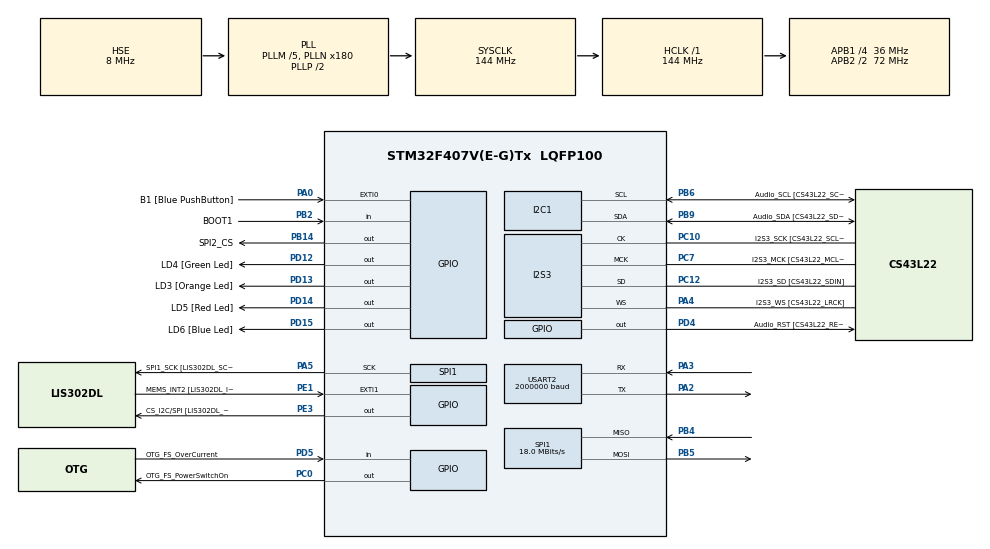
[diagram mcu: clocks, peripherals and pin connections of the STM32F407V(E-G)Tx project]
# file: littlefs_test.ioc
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Dma.Request0=SPI3_TX
Dma.SPI3_TX.0.Direction=DMA_MEMORY_TO_PERIPH
Dma.SPI3_TX.0.FIFOMode=DMA_FIFOMODE_DISABLE
Dma.SPI3_TX.0.Instance=DMA1_Stream5
Dma.SPI3_TX.0.MemDataAlignment=DMA_MDATAALIGN_HALFWORD
Dma.SPI3_TX.0.MemInc=DMA_MINC_ENABLE
Dma.SPI3_TX.0.Mode=DMA_CIRCULAR
Dma.SPI3_TX.0.PeriphDataAlignment=DMA_PDATAALIGN_HALFWORD
Dma.SPI3_TX.0.PeriphInc=DMA_PINC_DISABLE
Dma.SPI3_TX.0.Priority=DMA_PRIORITY_LOW
I2S3.AudioFreq=I2S_AUDIOFREQ_44K
I2S3.ErrorAudioFreq=0.24 %
I2S3.FullDuplexMode=I2S_FULLDUPLEXMODE_DISABLE
I2S3.Instance=SPI$Index
I2S3.RealAudioFreq=44.107 KHz
I2S3.VirtualMode=I2S_MODE_MASTER
Mcu.Family=STM32F4
Mcu.Name=STM32F407V(E-G)Tx
Mcu.Package=LQFP100
NVIC.DMA1_Stream5_IRQn=true\:0\:0\:false\:false\:true\:false\:true\:true
NVIC.PriorityGroup=NVIC_PRIORITYGROUP_0
PA0-WKUP.GPIO_Label=B1 [Blue PushButton]
PA0-WKUP.Signal=GPXTI0
PA10.GPIO_Label=OTG_FS_ID
PA10.GPIO_Mode=GPIO_MODE_AF_PP
PA10.GPIO_PuPd=GPIO_NOPULL
PA10.GPIO_Speed=GPIO_SPEED_FREQ_LOW
PA10.Signal=USB_OTG_FS_ID
PA11.GPIO_Label=OTG_FS_DM
PA11.GPIO_Mode=GPIO_MODE_AF_PP
PA11.GPIO_PuPd=GPIO_NOPULL
PA11.GPIO_Speed=GPIO_SPEED_FREQ_LOW
PA11.Signal=USB_OTG_FS_DM
PA12.GPIO_Label=OTG_FS_DP
PA12.GPIO_Mode=GPIO_MODE_AF_PP
PA12.GPIO_PuPd=GPIO_NOPULL
PA12.GPIO_Speed=GPIO_SPEED_FREQ_LOW
PA12.Signal=USB_OTG_FS_DP
PA13.GPIO_Label=SWDIO
PA13.Signal=SYS_JTMS-SWDIO
PA14.GPIO_Label=SWCLK
PA14.Signal=SYS_JTCK-SWCLK
PA2.Mode=Asynchronous
PA2.Signal=USART2_TX
PA3.Mode=Asynchronous
PA3.Signal=USART2_RX
PA4.GPIO_Label=I2S3_WS [CS43L22_LRCK]
PA4.GPIO_Mode=GPIO_MODE_AF_PP
PA4.GPIO_PuPd=GPIO_NOPULL
PA4.GPIO_Speed=GPIO_SPEED_FREQ_LOW
PA4.Mode=Half_Duplex_Master
PA4.Signal=I2S3_WS
PA5.GPIO_Label=SPI1_SCK [LIS302DL_SCL/SPC]
PA5.GPIO_Mode=GPIO_MODE_AF_PP
PA5.GPIO_PuPd=GPIO_NOPULL
PA5.GPIO_Speed=GPIO_SPEED_FREQ_LOW
PA5.Mode=Full_Duplex_Master
PA5.Signal=SPI1_SCK
PA9.GPIO_Label=VBUS_FS
PA9.GPIO_Mode=GPIO_MODE_INPUT
PA9.GPIO_PuPd=GPIO_NOPULL
PA9.Signal=USB_OTG_FS_VBUS
PB10.GPIO_Label=CLK_IN [MP45DT02_CLK]
PB10.GPIO_Mode=GPIO_MODE_AF_PP
PB10.GPIO_PuPd=GPIO_NOPULL
PB10.GPIO_Speed=GPIO_SPEED_FREQ_LOW
PB10.Signal=I2S2_CK
PB14.GPIO_Label=SPI2_CS
PB14.GPIO_Speed=GPIO_SPEED_FREQ_VERY_HIGH
PB14.PinState=GPIO_PIN_SET
PB14.Signal=GPIO_Output
PB2.GPIO_Label=BOOT1
PB2.GPIO_Mode=GPIO_MODE_INPUT
PB2.GPIO_PuPd=GPIO_NOPULL
PB2.Signal=GPIO_Input
PB3.GPIO_Label=SWO
PB3.Signal=SYS_JTDO-SWO
PB4.Mode=Full_Duplex_Master
PB4.Signal=SPI1_MISO
PB5.Mode=Full_Duplex_Master
PB5.Signal=SPI1_MOSI
PB6.GPIO_Label=Audio_SCL [CS43L22_SCL]
PB6.GPIO_Mode=GPIO_MODE_AF_OD
PB6.GPIO_PuPd=GPIO_NOPULL
PB6.GPIO_Speed=GPIO_SPEED_FREQ_LOW
PB6.Mode=I2C
PB6.Signal=I2C1_SCL
PB9.GPIO_Label=Audio_SDA [CS43L22_SDA]
PB9.GPIO_Mode=GPIO_MODE_AF_OD
PB9.GPIO_PuPd=GPIO_NOPULL
PB9.GPIO_Speed=GPIO_SPEED_FREQ_LOW
PB9.Mode=I2C
PB9.Signal=I2C1_SDA
PC0.GPIO_Label=OTG_FS_PowerSwitchOn
PC0.GPIO_PuPd=GPIO_NOPULL
PC0.GPIO_Speed=GPIO_SPEED_FREQ_LOW
PC0.PinState=GPIO_PIN_SET
PC0.Signal=GPIO_Output
PC10.GPIO_Label=I2S3_SCK [CS43L22_SCLK]
PC10.GPIO_Mode=GPIO_MODE_AF_PP
PC10.GPIO_PuPd=GPIO_NOPULL
PC10.GPIO_Speed=GPIO_SPEED_FREQ_LOW
PC10.Mode=Half_Duplex_Master
PC10.Signal=I2S3_CK
PC12.GPIO_Label=I2S3_SD [CS43L22_SDIN]
PC12.GPIO_Mode=GPIO_MODE_AF_PP
PC12.GPIO_PuPd=GPIO_NOPULL
PC12.GPIO_Speed=GPIO_SPEED_FREQ_LOW
PC12.Mode=Half_Duplex_Master
PC12.Signal=I2S3_SD
PC14-OSC32_IN.GPIO_Label=PC14-OSC32_IN
PC14-OSC32_IN.Signal=RCC_OSC32_IN
PC15-OSC32_OUT.GPIO_Label=PC15-OSC32_OUT
PC15-OSC32_OUT.Signal=RCC_OSC32_OUT
PC3.GPIO_Label=PDM_OUT [MP45DT02_DOUT]
PC3.GPIO_Mode=GPIO_MODE_AF_PP
PC3.GPIO_PuPd=GPIO_NOPULL
PC3.GPIO_Speed=GPIO_SPEED_FREQ_LOW
PC3.Signal=I2S2_SD
PC7.GPIO_Label=I2S3_MCK [CS43L22_MCLK]
PC7.GPIO_Mode=GPIO_MODE_AF_PP
PC7.GPIO_PuPd=GPIO_NOPULL
PC7.GPIO_Speed=GPIO_SPEED_FREQ_LOW
PC7.Mode=Master_Clock_Activated
PC7.Signal=I2S3_MCK
PD12.GPIO_Label=LD4 [Green Led]
PD12.GPIO_PuPd=GPIO_NOPULL
PD12.GPIO_Speed=GPIO_SPEED_FREQ_LOW
PD12.Signal=GPIO_Output
PD13.GPIO_Label=LD3 [Orange Led]
PD13.GPIO_PuPd=GPIO_NOPULL
PD13.GPIO_Speed=GPIO_SPEED_FREQ_LOW
PD13.Signal=GPIO_Output
PD14.GPIO_Label=LD5 [Red Led]
PD14.GPIO_PuPd=GPIO_NOPULL
PD14.GPIO_Speed=GPIO_SPEED_FREQ_LOW
PD14.Signal=GPIO_Output
PD15.GPIO_Label=LD6 [Blue Led]
PD15.GPIO_PuPd=GPIO_NOPULL
PD15.GPIO_Speed=GPIO_SPEED_FREQ_LOW
PD15.Signal=GPIO_Output
PD4.GPIO_Label=Audio_RST [CS43L22_RESET]
PD4.GPIO_PuPd=GPIO_NOPULL
PD4.GPIO_Speed=GPIO_SPEED_FREQ_LOW
PD4.Signal=GPIO_Output
PD5.GPIO_Label=OTG_FS_OverCurrent
PD5.GPIO_Mode=GPIO_MODE_INPUT
PD5.GPIO_PuPd=GPIO_NOPULL
PD5.Signal=GPIO_Input
PE1.GPIO_Label=MEMS_INT2 [LIS302DL_INT2]
PE1.GPIO_ModeDefaultEXTI=GPIO_MODE_EVT_RISING
PE1.GPIO_PuPd=GPIO_NOPULL
PE1.Signal=GPXTI1
PE3.GPIO_Label=CS_I2C/SPI [LIS302DL_CS_I2C/SPI]
PE3.GPIO_PuPd=GPIO_NOPULL
PE3.GPIO_Speed=GPIO_SPEED_FREQ_LOW
PE3.Signal=GPIO_Output
PH0-OSC_IN.GPIO_Label=PH0-OSC_IN
PH0-OSC_IN.Mode=HSE-External-Oscillator
PH0-OSC_IN.Signal=RCC_OSC_IN
PH1-OSC_OUT.GPIO_Label=PH1-OSC_OUT
PH1-OSC_OUT.Mode=HSE-External-Oscillator
PH1-OSC_OUT.Signal=RCC_OSC_OUT
ProjectManager.HeapSize=0x8000
ProjectManager.StackSize=0x4000
ProjectManager.TargetToolchain=STM32CubeIDE
RCC.48MHZClocksFreq_Value=41142857.14285714
RCC.AHBFreq_Value=144000000
RCC.APB1CLKDivider=RCC_HCLK_DIV4
RCC.APB1Freq_Value=36000000
RCC.APB1TimFreq_Value=72000000
RCC.APB2CLKDivider=RCC_HCLK_DIV2
RCC.APB2Freq_Value=72000000
RCC.APB2TimFreq_Value=144000000
RCC.CortexFreq_Value=144000000
RCC.HCLKFreq_Value=144000000
RCC.HSE_VALUE=8000000
RCC.HSI_VALUE=16000000
RCC.LSE_VALUE=32768
RCC.PLLI2SN=247
RCC.PLLI2SR=5
RCC.PLLM=5
RCC.PLLN=180
RCC.PLLQ=7
RCC.PLLSourceVirtual=RCC_PLLSOURCE_HSE
RCC.SYSCLKFreq_VALUE=144000000
RCC.SYSCLKSource=RCC_SYSCLKSOURCE_PLLCLK
RCC.VCOOutputFreq_Value=288000000
SPI1.BaudRatePrescaler=SPI_BAUDRATEPRESCALER_4
SPI1.CalculateBaudRate=18.0 MBits/s
SPI1.Direction=SPI_DIRECTION_2LINES
SPI1.Mode=SPI_MODE_MASTER
SPI1.VirtualType=VM_MASTER
TIM6.Prescaler=54-1
USART2.BaudRate=2000000
USART2.VirtualMode=VM_ASYNC
VP_TIM6_VS_ClockSourceINT.Mode=Enable_Timer
board=STM32F407G-DISC1

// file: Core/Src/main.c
/* USER CODE BEGIN Header */
/**
  ******************************************************************************
  * @file           : main.c
  * @brief          : Main program body
  ******************************************************************************
  * @attention
  *
  * Copyright (c) 2024 STMicroelectronics.
  * All rights reserved.
  *
  * This software is licensed under terms that can be found in the LICENSE file
  * in the root directory of this software component.
  * If no LICENSE file comes with this software, it is provided AS-IS.
  *
  ******************************************************************************
  */
/* USER CODE END Header */
#include "main.h"

/* USER CODE BEGIN Includes */
#include "W25Q256.h"
#include <stdio.h>
#include <string.h>
#include "lfs.h"
#include "player.h"
#include "xmodem_server.h"
#include "CS43L22.h"
/* USER CODE END Includes */

I2C_HandleTypeDef hi2c1;

I2S_HandleTypeDef hi2s3;
DMA_HandleTypeDef hdma_spi3_tx;

SPI_HandleTypeDef hspi1;

TIM_HandleTypeDef htim6;

UART_HandleTypeDef huart2;

void SystemClock_Config(void);
static void MX_GPIO_Init(void);
static void MX_DMA_Init(void);
static void MX_USART2_UART_Init(void);
static void MX_I2C1_Init(void);
static void MX_I2S3_Init(void);
static void MX_TIM6_Init(void);
static void MX_SPI1_Init(void);

/* USER CODE BEGIN 0 */
int __io_putchar(int ch)
{
	uint8_t data = ch;
	HAL_UART_Transmit(&huart2, &data, sizeof(data), HAL_MAX_DELAY);
	return ch;
}

static void __attribute__((noreturn)) halt(void)
{
	printf("Execution halted\n");
	while (1);
}

static int flash_read(const struct lfs_config *c, lfs_block_t block, lfs_off_t off, void *buffer, lfs_size_t size)
{
	const uint32_t lba = block * W25Q256_SECTOR_SIZE + off;
	return W25Q256_read(lba, buffer, size);
}

static int flash_prog(const struct lfs_config *c, lfs_block_t block, lfs_off_t off, const void *buffer, lfs_size_t size)
{
	const uint32_t lba = block * W25Q256_SECTOR_SIZE + off;
	return W25Q256_write(lba, buffer, size);
}

static int flash_erase(const struct lfs_config *c, lfs_block_t block)
{
	return W25Q256_erase_sector(block);
}

static int flash_sync(const struct lfs_config *c)
{
	return 0;
}

static lfs_t lfs;
static lfs_file_t file;

static const struct lfs_config cfg = {
		.read = flash_read,
		.prog = flash_prog,
		.erase = flash_erase,
		.sync = flash_sync,

		.read_size = 16,
		.prog_size = 16,
		.block_size = W25Q256_SECTOR_SIZE,
		.block_count = W25Q256_SECTORS_COUNT,
		.cache_size = 512,
		.lookahead_size = 512,
		.block_cycles = 512
};

static void uart_write_byte(struct xmodem_server *xdm, uint8_t byte, void *cb_data)
{
	HAL_UART_Transmit(&huart2, &byte, sizeof(byte), HAL_MAX_DELAY);
}

static bool uart_read_byte(uint8_t *byte)
{
	return (HAL_UART_Receive(&huart2, byte, sizeof(*byte), 0) == HAL_OK);
}

static void delete_file(void)
{
	lfs_remove(&lfs, "test.mp3");
}

static void open_file(void)
{
	const int err = lfs_file_open(&lfs, &file, "test.mp3", LFS_O_RDWR | LFS_O_TRUNC | LFS_O_CREAT);
	if (err) {
		printf("Failed to open file!\n");
		halt();
	}
}

static void write_file(const uint8_t *data, size_t size)
{
	const size_t bytes_written = lfs_file_write(&lfs, &file, data, size);
	if (bytes_written != size) {
		printf("Failed to write to file! Expected %uB, written %uB\n", size, bytes_written);
		halt();
	}
}

static void close_file(void)
{
	const int err = lfs_file_close(&lfs, &file);
	if (err) {
		printf("Failed to close file!\n");
		halt();
	}
}

static int8_t volume = -32 * CS43L22_VOLUME_STEPS_PER_DB;

static void update_volume(void)
{
	uint8_t payload[3];
	/* Limit max volume to -15dB so that some accidental frame matching
	 * the pattern check below will not deafen anyone... */
	const int8_t limit = CS43L22_VOLUME_STEPS_PER_DB * 15;
	if (HAL_UART_Receive(&huart2, payload, sizeof(payload), 4) == HAL_OK) {
		if ((payload[0] == 0xCA) && (payload[1] <= (INT8_MAX - limit)) && (payload[2] == 0xFE)) {
			volume = payload[1] - INT8_MAX;
			player_set_volume(volume);
		}
	}
}

/* USER CODE END 0 */

int main(void)
{

  /* MCU Configuration--------------------------------------------------------*/

  /* Reset of all peripherals, Initializes the Flash interface and the Systick. */
  HAL_Init();

  /* Configure the system clock */
  SystemClock_Config();

  /* Initialize all configured peripherals */
  MX_GPIO_Init();
  MX_DMA_Init();
  MX_USART2_UART_Init();
  MX_I2C1_Init();
  MX_I2S3_Init();
  MX_TIM6_Init();
  MX_SPI1_Init();
  /* USER CODE BEGIN 2 */

  printf("Mounting LFS...\n");
  int err = lfs_mount(&lfs, &cfg);
  if (err) {
	  printf("Failed to mount LFS! Error: %d\n", err);
	  halt();
  }

  struct xmodem_server xmodem;

  player_init(&hi2s3, &hi2c1, &lfs);
  /* USER CODE END 2 */

  /* Infinite loop */
  /* USER CODE BEGIN WHILE */
  while (1)
  {
	/* Initialize XMODEM server and wait for connection */
//	printf("Awaiting XMODEM connection...\n");
	xmodem_server_init(&xmodem, uart_write_byte, NULL);
	while (!xmodem_server_is_done(&xmodem)) {
		uint8_t byte;
		if (uart_read_byte(&byte)) {
		  xmodem_server_rx_byte(&xmodem, byte);
		}

		uint8_t payload[XMODEM_MAX_PACKET_SIZE];
		uint32_t block_nr;
		const int rx_data_len = xmodem_server_process(&xmodem, payload, &block_nr, HAL_GetTick());
		if (rx_data_len > 0) {
		  if (block_nr == 0) {
			  delete_file();
			  open_file();
		  }
		  write_file(payload, rx_data_len);
		  xmodem_server_acknowledge(&xmodem);
		}
	}
	if (xmodem_server_is_done(&xmodem)) {
		close_file();
	}
	if (xmodem_server_get_state(&xmodem) == XMODEM_STATE_FAILURE) {
		printf("Failed to receive data!\n");
		halt();
	}

//	const size_t blocks_used = lfs_fs_size(&lfs);
//	const size_t blocks_free = W25Q256_SECTORS_COUNT - blocks_used;

//	printf("\nFilesystem info:\n");
//	printf("\tfree space: %lu\n", blocks_free * W25Q256_SECTOR_SIZE);
//	printf("\tused space: %lu\n", blocks_used * W25Q256_SECTOR_SIZE);
//	printf("\ttotal space: %lu\n", W25Q256_SECTORS_COUNT * W25Q256_SECTOR_SIZE);
//	printf("\tpercent of usage: %u%%\n\n", (100 * blocks_used) / (blocks_free + blocks_used));

	/* Play newly received file */
//	printf("Starting playback...\n");
	player_start("test.mp3");
	player_set_volume(volume);
	while (player_get_state() == PLAYER_PLAYING) {
		update_volume();
		player_task();
	}
    /* USER CODE END WHILE */

  }
}

void SystemClock_Config(void)
{
  RCC_OscInitTypeDef RCC_OscInitStruct = {0};
  RCC_ClkInitTypeDef RCC_ClkInitStruct = {0};

  /** Configure the main internal regulator output voltage
  */
  __HAL_RCC_PWR_CLK_ENABLE();
  __HAL_PWR_VOLTAGESCALING_CONFIG(PWR_REGULATOR_VOLTAGE_SCALE1);

  /** Initializes the RCC Oscillators according to the specified parameters
  * in the RCC_OscInitTypeDef structure.
  */
  RCC_OscInitStruct.OscillatorType = RCC_OSCILLATORTYPE_HSE;
  RCC_OscInitStruct.HSEState = RCC_HSE_ON;
  RCC_OscInitStruct.PLL.PLLState = RCC_PLL_ON;
  RCC_OscInitStruct.PLL.PLLSource = RCC_PLLSOURCE_HSE;
  RCC_OscInitStruct.PLL.PLLM = 5;
  RCC_OscInitStruct.PLL.PLLN = 180;
  RCC_OscInitStruct.PLL.PLLP = RCC_PLLP_DIV2;
  RCC_OscInitStruct.PLL.PLLQ = 7;
  if (HAL_RCC_OscConfig(&RCC_OscInitStruct) != HAL_OK)
  {
    Error_Handler();
  }

  /** Initializes the CPU, AHB and APB buses clocks
  */
  RCC_ClkInitStruct.ClockType = RCC_CLOCKTYPE_HCLK|RCC_CLOCKTYPE_SYSCLK
                              |RCC_CLOCKTYPE_PCLK1|RCC_CLOCKTYPE_PCLK2;
  RCC_ClkInitStruct.SYSCLKSource = RCC_SYSCLKSOURCE_PLLCLK;
  RCC_ClkInitStruct.AHBCLKDivider = RCC_SYSCLK_DIV1;
  RCC_ClkInitStruct.APB1CLKDivider = RCC_HCLK_DIV4;
  RCC_ClkInitStruct.APB2CLKDivider = RCC_HCLK_DIV2;

  if (HAL_RCC_ClockConfig(&RCC_ClkInitStruct, FLASH_LATENCY_4) != HAL_OK)
  {
    Error_Handler();
  }
}

static void MX_I2C1_Init(void)
{

  hi2c1.Instance = I2C1;
  hi2c1.Init.ClockSpeed = 100000;
  hi2c1.Init.DutyCycle = I2C_DUTYCYCLE_2;
  hi2c1.Init.OwnAddress1 = 0;
  hi2c1.Init.AddressingMode = I2C_ADDRESSINGMODE_7BIT;
  hi2c1.Init.DualAddressMode = I2C_DUALADDRESS_DISABLE;
  hi2c1.Init.OwnAddress2 = 0;
  hi2c1.Init.GeneralCallMode = I2C_GENERALCALL_DISABLE;
  hi2c1.Init.NoStretchMode = I2C_NOSTRETCH_DISABLE;
  if (HAL_I2C_Init(&hi2c1) != HAL_OK)
  {
    Error_Handler();
  }

}

static void MX_I2S3_Init(void)
{

  hi2s3.Instance = SPI3;
  hi2s3.Init.Mode = I2S_MODE_MASTER_TX;
  hi2s3.Init.Standard = I2S_STANDARD_PHILIPS;
  hi2s3.Init.DataFormat = I2S_DATAFORMAT_16B;
  hi2s3.Init.MCLKOutput = I2S_MCLKOUTPUT_ENABLE;
  hi2s3.Init.AudioFreq = I2S_AUDIOFREQ_44K;
  hi2s3.Init.CPOL = I2S_CPOL_LOW;
  hi2s3.Init.ClockSource = I2S_CLOCK_PLL;
  hi2s3.Init.FullDuplexMode = I2S_FULLDUPLEXMODE_DISABLE;
  if (HAL_I2S_Init(&hi2s3) != HAL_OK)
  {
    Error_Handler();
  }

}

static void MX_SPI1_Init(void)
{

  /* SPI1 parameter configuration*/
  hspi1.Instance = SPI1;
  hspi1.Init.Mode = SPI_MODE_MASTER;
  hspi1.Init.Direction = SPI_DIRECTION_2LINES;
  hspi1.Init.DataSize = SPI_DATASIZE_8BIT;
  hspi1.Init.CLKPolarity = SPI_POLARITY_LOW;
  hspi1.Init.CLKPhase = SPI_PHASE_1EDGE;
  hspi1.Init.NSS = SPI_NSS_SOFT;
  hspi1.Init.BaudRatePrescaler = SPI_BAUDRATEPRESCALER_4;
  hspi1.Init.FirstBit = SPI_FIRSTBIT_MSB;
  hspi1.Init.TIMode = SPI_TIMODE_DISABLE;
  hspi1.Init.CRCCalculation = SPI_CRCCALCULATION_DISABLE;
  hspi1.Init.CRCPolynomial = 10;
  if (HAL_SPI_Init(&hspi1) != HAL_OK)
  {
    Error_Handler();
  }

}

static void MX_TIM6_Init(void)
{

  TIM_MasterConfigTypeDef sMasterConfig = {0};

  htim6.Instance = TIM6;
  htim6.Init.Prescaler = 54-1;
  htim6.Init.CounterMode = TIM_COUNTERMODE_UP;
  htim6.Init.Period = 65535;
  htim6.Init.AutoReloadPreload = TIM_AUTORELOAD_PRELOAD_DISABLE;
  if (HAL_TIM_Base_Init(&htim6) != HAL_OK)
  {
    Error_Handler();
  }
  sMasterConfig.MasterOutputTrigger = TIM_TRGO_RESET;
  sMasterConfig.MasterSlaveMode = TIM_MASTERSLAVEMODE_DISABLE;
  if (HAL_TIMEx_MasterConfigSynchronization(&htim6, &sMasterConfig) != HAL_OK)
  {
    Error_Handler();
  }

}

static void MX_USART2_UART_Init(void)
{

  huart2.Instance = USART2;
  huart2.Init.BaudRate = 2000000;
  huart2.Init.WordLength = UART_WORDLENGTH_8B;
  huart2.Init.StopBits = UART_STOPBITS_1;
  huart2.Init.Parity = UART_PARITY_NONE;
  huart2.Init.Mode = UART_MODE_TX_RX;
  huart2.Init.HwFlowCtl = UART_HWCONTROL_NONE;
  huart2.Init.OverSampling = UART_OVERSAMPLING_16;
  if (HAL_UART_Init(&huart2) != HAL_OK)
  {
    Error_Handler();
  }

}

static void MX_DMA_Init(void)
{

  /* DMA controller clock enable */
  __HAL_RCC_DMA1_CLK_ENABLE();

  /* DMA interrupt init */
  /* DMA1_Stream5_IRQn interrupt configuration */
  HAL_NVIC_SetPriority(DMA1_Stream5_IRQn, 0, 0);
  HAL_NVIC_EnableIRQ(DMA1_Stream5_IRQn);

}

static void MX_GPIO_Init(void)
{
  GPIO_InitTypeDef GPIO_InitStruct = {0};

  /* GPIO Ports Clock Enable */
  __HAL_RCC_GPIOE_CLK_ENABLE();
  __HAL_RCC_GPIOC_CLK_ENABLE();
  __HAL_RCC_GPIOH_CLK_ENABLE();
  __HAL_RCC_GPIOA_CLK_ENABLE();
  __HAL_RCC_GPIOB_CLK_ENABLE();
  __HAL_RCC_GPIOD_CLK_ENABLE();

  /*Configure GPIO pin Output Level */
  HAL_GPIO_WritePin(CS_I2C_SPI_GPIO_Port, CS_I2C_SPI_Pin, GPIO_PIN_RESET);

  /*Configure GPIO pin Output Level */
  HAL_GPIO_WritePin(OTG_FS_PowerSwitchOn_GPIO_Port, OTG_FS_PowerSwitchOn_Pin, GPIO_PIN_SET);

  /*Configure GPIO pin Output Level */
  HAL_GPIO_WritePin(SPI2_CS_GPIO_Port, SPI2_CS_Pin, GPIO_PIN_SET);

  /*Configure GPIO pin Output Level */
  HAL_GPIO_WritePin(GPIOD, LD4_Pin|LD3_Pin|LD5_Pin|LD6_Pin
                          |Audio_RST_Pin, GPIO_PIN_RESET);

  /*Configure GPIO pin : CS_I2C_SPI_Pin */
  GPIO_InitStruct.Pin = CS_I2C_SPI_Pin;
  GPIO_InitStruct.Mode = GPIO_MODE_OUTPUT_PP;
  GPIO_InitStruct.Pull = GPIO_NOPULL;
  GPIO_InitStruct.Speed = GPIO_SPEED_FREQ_LOW;
  HAL_GPIO_Init(CS_I2C_SPI_GPIO_Port, &GPIO_InitStruct);

  /*Configure GPIO pin : OTG_FS_PowerSwitchOn_Pin */
  GPIO_InitStruct.Pin = OTG_FS_PowerSwitchOn_Pin;
  GPIO_InitStruct.Mode = GPIO_MODE_OUTPUT_PP;
  GPIO_InitStruct.Pull = GPIO_NOPULL;
  GPIO_InitStruct.Speed = GPIO_SPEED_FREQ_LOW;
  HAL_GPIO_Init(OTG_FS_PowerSwitchOn_GPIO_Port, &GPIO_InitStruct);

  /*Configure GPIO pin : PDM_OUT_Pin */
  GPIO_InitStruct.Pin = PDM_OUT_Pin;
  GPIO_InitStruct.Mode = GPIO_MODE_AF_PP;
  GPIO_InitStruct.Pull = GPIO_NOPULL;
  GPIO_InitStruct.Speed = GPIO_SPEED_FREQ_LOW;
  GPIO_InitStruct.Alternate = GPIO_AF5_SPI2;
  HAL_GPIO_Init(PDM_OUT_GPIO_Port, &GPIO_InitStruct);

  /*Configure GPIO pin : B1_Pin */
  GPIO_InitStruct.Pin = B1_Pin;
  GPIO_InitStruct.Mode = GPIO_MODE_IT_RISING;
  GPIO_InitStruct.Pull = GPIO_NOPULL;
  HAL_GPIO_Init(B1_GPIO_Port, &GPIO_InitStruct);

  /*Configure GPIO pin : BOOT1_Pin */
  GPIO_InitStruct.Pin = BOOT1_Pin;
  GPIO_InitStruct.Mode = GPIO_MODE_INPUT;
  GPIO_InitStruct.Pull = GPIO_NOPULL;
  HAL_GPIO_Init(BOOT1_GPIO_Port, &GPIO_InitStruct);

  /*Configure GPIO pin : CLK_IN_Pin */
  GPIO_InitStruct.Pin = CLK_IN_Pin;
  GPIO_InitStruct.Mode = GPIO_MODE_AF_PP;
  GPIO_InitStruct.Pull = GPIO_NOPULL;
  GPIO_InitStruct.Speed = GPIO_SPEED_FREQ_LOW;
  GPIO_InitStruct.Alternate = GPIO_AF5_SPI2;
  HAL_GPIO_Init(CLK_IN_GPIO_Port, &GPIO_InitStruct);

  /*Configure GPIO pin : SPI2_CS_Pin */
  GPIO_InitStruct.Pin = SPI2_CS_Pin;
  GPIO_InitStruct.Mode = GPIO_MODE_OUTPUT_PP;
  GPIO_InitStruct.Pull = GPIO_NOPULL;
  GPIO_InitStruct.Speed = GPIO_SPEED_FREQ_VERY_HIGH;
  HAL_GPIO_Init(SPI2_CS_GPIO_Port, &GPIO_InitStruct);

  /*Configure GPIO pins : LD4_Pin LD3_Pin LD5_Pin LD6_Pin
                           Audio_RST_Pin */
  GPIO_InitStruct.Pin = LD4_Pin|LD3_Pin|LD5_Pin|LD6_Pin
                          |Audio_RST_Pin;
  GPIO_InitStruct.Mode = GPIO_MODE_OUTPUT_PP;
  GPIO_InitStruct.Pull = GPIO_NOPULL;
  GPIO_InitStruct.Speed = GPIO_SPEED_FREQ_LOW;
  HAL_GPIO_Init(GPIOD, &GPIO_InitStruct);

  /*Configure GPIO pin : VBUS_FS_Pin */
  GPIO_InitStruct.Pin = VBUS_FS_Pin;
  GPIO_InitStruct.Mode = GPIO_MODE_INPUT;
  GPIO_InitStruct.Pull = GPIO_NOPULL;
  HAL_GPIO_Init(VBUS_FS_GPIO_Port, &GPIO_InitStruct);

  /*Configure GPIO pins : OTG_FS_ID_Pin OTG_FS_DM_Pin OTG_FS_DP_Pin */
  GPIO_InitStruct.Pin = OTG_FS_ID_Pin|OTG_FS_DM_Pin|OTG_FS_DP_Pin;
  GPIO_InitStruct.Mode = GPIO_MODE_AF_PP;
  GPIO_InitStruct.Pull = GPIO_NOPULL;
  GPIO_InitStruct.Speed = GPIO_SPEED_FREQ_LOW;
  GPIO_InitStruct.Alternate = GPIO_AF10_OTG_FS;
  HAL_GPIO_Init(GPIOA, &GPIO_InitStruct);

  /*Configure GPIO pin : OTG_FS_OverCurrent_Pin */
  GPIO_InitStruct.Pin = OTG_FS_OverCurrent_Pin;
  GPIO_InitStruct.Mode = GPIO_MODE_INPUT;
  GPIO_InitStruct.Pull = GPIO_NOPULL;
  HAL_GPIO_Init(OTG_FS_OverCurrent_GPIO_Port, &GPIO_InitStruct);

  /*Configure GPIO pin : MEMS_INT2_Pin */
  GPIO_InitStruct.Pin = MEMS_INT2_Pin;
  GPIO_InitStruct.Mode = GPIO_MODE_EVT_RISING;
  GPIO_InitStruct.Pull = GPIO_NOPULL;
  HAL_GPIO_Init(MEMS_INT2_GPIO_Port, &GPIO_InitStruct);

}

void Error_Handler(void)
{
  __disable_irq();
  while (1)
  {
  }
}
